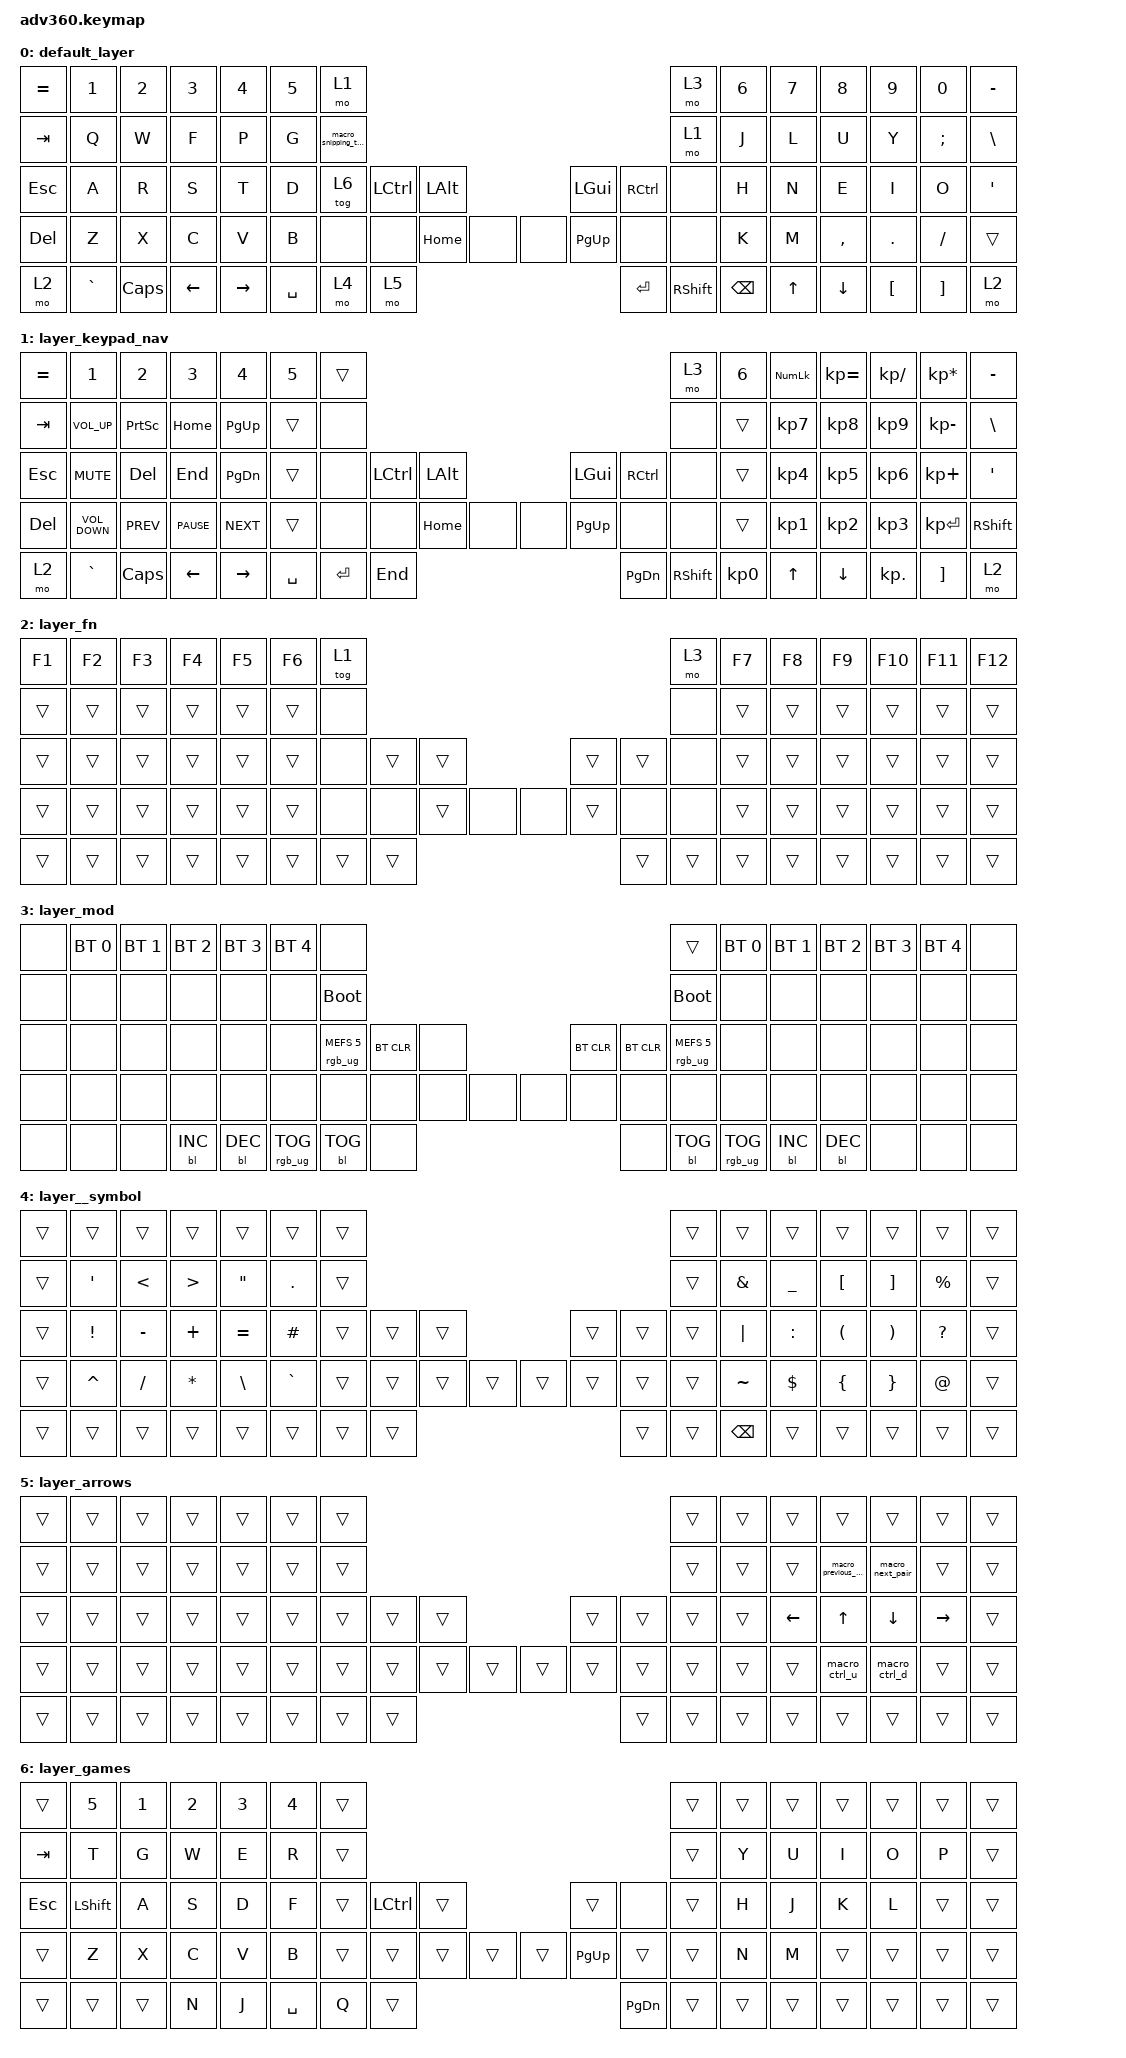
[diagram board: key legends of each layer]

/*
 * Copyright (c) 2020 The ZMK Contributors
 *
 * SPDX-License-Identifier: MIT
 */


/* THIS FILE WAS GENERATED!
 *
 * This file was generated automatically. You may or may not want to
 * edit it directly.
 */

#include <behaviors.dtsi>
#include <dt-bindings/zmk/keys.h>
#include <dt-bindings/zmk/bt.h>
#include <dt-bindings/zmk/rgb.h>
#include <dt-bindings/zmk/backlight.h>

/ {
  behaviors {
    #include "macros.dtsi"

    hm: homerow_mods {
        compatible = "zmk,behavior-hold-tap";
        label = "HOMEROW_MODS";
        #binding-cells = <2>;
        tapping-term-ms = <200>;
        quick_tap_ms = <175>;
        flavor = "tap-preferred";
        bindings = <&kp>, <&kp>;
    };
  };

    keymap {
        compatible = "zmk,keymap";


        default_layer {
            bindings = <
  &kp EQUAL     &kp N1    &kp N2    &kp N3     &kp N4  &kp N5                           &mo 1                                                                           &mo 3  &kp N6  &kp N7     &kp N8    &kp N9    &kp N0  &kp MINUS
    &kp TAB      &kp Q     &kp W     &kp F      &kp P   &kp G            &macro_snipping_tool                                                                           &mo 1   &kp J   &kp L      &kp U     &kp Y  &kp SEMI   &kp BSLH
    &kp ESC      &kp A     &kp R     &kp S      &kp T   &kp D                          &tog 6  &kp LCTRL  &kp LALT                   &kp LGUI        &kp RCTRL          &none   &kp H   &kp N      &kp E     &kp I     &kp O    &kp SQT
 &kp DELETE      &kp Z     &kp X     &kp C      &kp V   &kp B                           &none      &none  &kp HOME   &none   &none  &kp PG_UP            &none          &none   &kp K   &kp M  &kp COMMA   &kp DOT  &kp FSLH     &trans
      &mo 2  &kp GRAVE  &kp CAPS  &kp LEFT  &kp RIGHT                               &kp SPACE      &mo 4     &mo 5                  &kp ENTER  &kp RIGHT_SHIFT  &kp BACKSPACE          &kp UP   &kp DOWN  &kp LBKT  &kp RBKT      &mo 2
            >;
        };

        layer_keypad_nav {
            bindings = <
  &kp EQUAL             &kp N1           &kp N2       &kp N3         &kp N4  &kp N5               &trans                                                                        &mo 3  &kp N6  &kp KP_NUM  &kp KP_EQUAL  &kp KP_DIVIDE  &kp KP_MULTIPLY  &kp MINUS
    &kp TAB       &kp C_VOL_UP  &kp PRINTSCREEN     &kp HOME    &kp PAGE_UP  &trans                &none                                                                        &none  &trans   &kp KP_N7     &kp KP_N8      &kp KP_N9     &kp KP_MINUS   &kp BSLH
    &kp ESC         &kp C_MUTE       &kp DELETE      &kp END  &kp PAGE_DOWN  &trans                &none   &kp LCTRL  &kp LALT                   &kp LGUI        &kp RCTRL      &none  &trans   &kp KP_N4     &kp KP_N5      &kp KP_N6      &kp KP_PLUS    &kp SQT
 &kp DELETE  &kp C_VOLUME_DOWN       &kp C_PREV  &kp C_PAUSE     &kp C_NEXT  &trans                &none       &none  &kp HOME   &none   &none  &kp PG_UP            &none      &none  &trans   &kp KP_N1     &kp KP_N2      &kp KP_N3     &kp KP_ENTER  &kp RSHFT
      &mo 2          &kp GRAVE         &kp CAPS     &kp LEFT      &kp RIGHT                    &kp SPACE  &kp RETURN   &kp END                  &kp PG_DN  &kp RIGHT_SHIFT  &kp KP_N0              &kp UP      &kp DOWN     &kp KP_DOT         &kp RBKT      &mo 2
            >;
        };

        layer_fn {
            bindings = <
 &kp F1  &kp F2  &kp F3  &kp F4  &kp F5  &kp F6            &tog 1                                                   &mo 3  &kp F7  &kp F8  &kp F9  &kp F10  &kp F11  &kp F12
 &trans  &trans  &trans  &trans  &trans  &trans             &none                                                   &none  &trans  &trans  &trans   &trans   &trans   &trans
 &trans  &trans  &trans  &trans  &trans  &trans             &none  &trans  &trans                  &trans  &trans   &none  &trans  &trans  &trans   &trans   &trans   &trans
 &trans  &trans  &trans  &trans  &trans  &trans             &none   &none  &trans   &none   &none  &trans   &none   &none  &trans  &trans  &trans   &trans   &trans   &trans
 &trans  &trans  &trans  &trans  &trans                    &trans  &trans  &trans                  &trans  &trans  &trans          &trans  &trans   &trans   &trans   &trans
            >;
        };

        layer_mod {
            bindings = <
  &none  &bt BT_SEL 0  &bt BT_SEL 1  &bt BT_SEL 2  &bt BT_SEL 3  &bt BT_SEL 4                             &none                                                                              &trans  &bt BT_SEL 0  &bt BT_SEL 1  &bt BT_SEL 2  &bt BT_SEL 3  &bt BT_SEL 4   &none
  &none         &none         &none         &none         &none         &none                       &bootloader                                                                         &bootloader         &none         &none         &none         &none         &none   &none
  &none         &none         &none         &none         &none         &none            &rgb_ug RGB_MEFS_CMD 5  &bt BT_CLR   &none                  &bt BT_CLR  &bt BT_CLR  &rgb_ug RGB_MEFS_CMD 5         &none         &none         &none         &none         &none   &none
  &none         &none         &none         &none         &none         &none                             &none       &none   &none   &none   &none       &none       &none                   &none         &none         &none         &none         &none         &none   &none
  &none         &none         &none    &bl BL_INC    &bl BL_DEC                                 &rgb_ug RGB_TOG  &bl BL_TOG   &none                       &none  &bl BL_TOG         &rgb_ug RGB_TOG                  &bl BL_INC    &bl BL_DEC         &none         &none   &none
            >;
        };

        layer__symbol {
            bindings = <
 &trans            &trans         &trans            &trans             &trans      &trans            &trans                                                         &trans         &trans          &trans                &trans                 &trans        &trans  &trans
 &trans  &kp SINGLE_QUOTE  &kp LESS_THAN  &kp GREATER_THAN  &kp DOUBLE_QUOTES  &kp PERIOD            &trans                                                         &trans  &kp AMPERSAND  &kp UNDERSCORE      &kp LEFT_BRACKET      &kp RIGHT_BRACKET   &kp PERCENT  &trans
 &trans   &kp EXCLAMATION      &kp MINUS          &kp PLUS          &kp EQUAL   &kp POUND            &trans  &trans  &trans                  &trans  &trans         &trans       &kp PIPE       &kp COLON  &kp LEFT_PARENTHESIS  &kp RIGHT_PARENTHESIS  &kp QUESTION  &trans
 &trans         &kp CARET      &kp SLASH      &kp ASTERISK      &kp BACKSLASH   &kp GRAVE            &trans  &trans  &trans  &trans  &trans  &trans  &trans         &trans      &kp TILDE      &kp DOLLAR        &kp LEFT_BRACE        &kp RIGHT_BRACE        &kp AT  &trans
 &trans            &trans         &trans            &trans             &trans                        &trans  &trans  &trans                  &trans  &trans  &kp BACKSPACE                         &trans                &trans                 &trans        &trans  &trans
            >;
        };

        layer_arrows {
            bindings = <
 &trans  &trans  &trans  &trans  &trans  &trans            &trans                                                  &trans  &trans          &trans                &trans            &trans           &trans  &trans
 &trans  &trans  &trans  &trans  &trans  &trans            &trans                                                  &trans  &trans          &trans  &macro_previous_pair  &macro_next_pair           &trans  &trans
 &trans  &trans  &trans  &trans  &trans  &trans            &trans  &trans  &trans                  &trans  &trans  &trans  &trans  &kp LEFT_ARROW          &kp UP_ARROW    &kp DOWN_ARROW  &kp RIGHT_ARROW  &trans
 &trans  &trans  &trans  &trans  &trans  &trans            &trans  &trans  &trans  &trans  &trans  &trans  &trans  &trans  &trans          &trans         &macro_ctrl_u     &macro_ctrl_d           &trans  &trans
 &trans  &trans  &trans  &trans  &trans                    &trans  &trans  &trans                  &trans  &trans  &trans                  &trans                &trans            &trans           &trans  &trans
            >;
        };

        layer_games {
            bindings = <
  &trans          &kp N5  &kp NUMBER_1  &kp NUMBER_2  &kp NUMBER_3  &kp NUMBER_4               &trans                                                            &trans  &trans  &trans  &trans  &trans  &trans  &trans
 &kp TAB           &kp T         &kp G         &kp W         &kp E         &kp R               &trans                                                            &trans   &kp Y   &kp U   &kp I   &kp O   &kp P  &trans
 &kp ESC  &kp LEFT_SHIFT         &kp A         &kp S         &kp D         &kp F               &trans  &kp LCTRL  &trans                         &trans   &none  &trans   &kp H   &kp J   &kp K   &kp L  &trans  &trans
  &trans           &kp Z         &kp X         &kp C         &kp V         &kp B               &trans     &trans  &trans  &trans  &trans    &kp PAGE_UP  &trans  &trans   &kp N   &kp M  &trans  &trans  &trans  &trans
  &trans          &trans        &trans         &kp N         &kp J                          &kp SPACE      &kp Q  &trans                  &kp PAGE_DOWN  &trans  &trans          &trans  &trans  &trans  &trans  &trans
            >;
        };

    };
};
